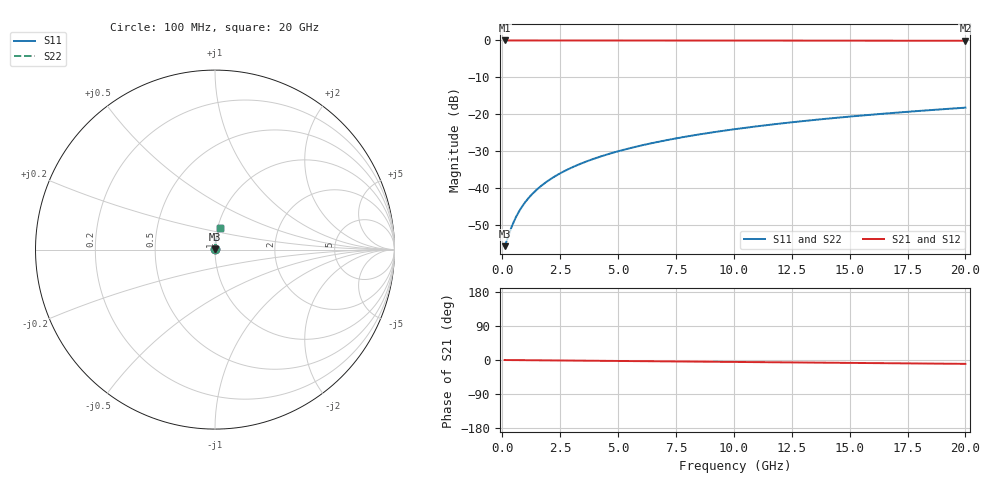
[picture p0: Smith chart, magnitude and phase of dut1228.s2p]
! Touchstone file exported from HFSS 2026.1.0
!  File:  C:/ffzhzh/LocalFiles/Ansys_Project_Files/temp_train_TSV_1228_1783193195_43440.aedt
!  Generated:  03:28:53 AM Jul  5, 2026
!  Design:  TSV
!  Project:  temp_train_TSV_1228_1783193195_43440
! Variables:
!  h_bsmrdl = 2um
!  h_ox = 20um
!  h_rdl = 5um
!  h_sub = 68.95um
!  h_tmrdl = 5um
!  h_tsv = 68.95um
!  h_via = 3um
!  l_bsmrdl = 300um
!  l_sub = 404.58um
!  l_tmrdl = 200um
!  m_sub = 200um
!  pitch = 42.99um
!  r_tsv = 2.29um
!  s_tmrdl = 10um
!  w_bsmrdl = 18um
!  w_sub = 500um
!  w_tmrdl = 12um
!  x_tsv_center1 = 206um
!  x_tsv_center2 = 524um
!  x_tsv_center3 = 736um
!  x_tsv_center4 = 1054um
!  x_tsv_center5 = 1266um
!  x_tsv_center6 = 1584um
# GHz S MA R 50.000000
! Terminal data exported
! Port[1] = TSV1_1_T1
! Port[2] = TSV1_1_T2
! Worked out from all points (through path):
!   200 points, 100 MHz to 20 GHz, reference 50 ohm
!   highest |S21| = -0.01 dB at 100 MHz (marker M1); lowest = -0.1 dB at 20 GHz (marker M2)
!   group delay of S21, straight-line fit = 1.41 ps
!   lowest |S11| = -55.6 dB at 100 MHz (marker M3), VSWR 1.00, Z = 50.2 + j0.0643 ohm
!   |S11| at or under -10 dB: start of sweep to end of sweep
!   |S22| runs from -55.6 to -18.2 dB; largest |S21 - S12| = 6.8e-15
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0.1  0.001654 22.8  0.9985 -0.1  0.9985 -0.1  0.001654 22.8
! Gamma 0 0 0 0
! Port Impedance 50 0 50 0
0.4  0.00299 58.8  0.9985 -0.2  0.9985 -0.2  0.00299 58.8
0.5  0.003554 64.0  0.9985 -0.3  0.9985 -0.3  0.003554 64.0
0.6  0.004139 67.7  0.9984 -0.3  0.9984 -0.3  0.004139 67.7
0.7  0.004736 70.5  0.9984 -0.4  0.9984 -0.4  0.004736 70.5
0.9  0.005952 74.3  0.9984 -0.5  0.9984 -0.5  0.005952 74.3
1.1  0.007185 76.8  0.9984 -0.6  0.9984 -0.6  0.007185 76.8
1.3  0.008427 78.5  0.9984 -0.7  0.9984 -0.7  0.008427 78.5
1.7  0.01093 80.7  0.9983 -0.9  0.9983 -0.9  0.01093 80.7
2.2  0.01407 82.2  0.9983 -1.1  0.9983 -1.1  0.01407 82.2
2.8  0.01785 83.2  0.9982 -1.5  0.9982 -1.5  0.01785 83.2
3.5  0.02226 83.8  0.998 -1.8  0.998 -1.8  0.02226 83.8
4.2  0.02667 84.0  0.9979 -2.2  0.9979 -2.2  0.02667 84.0
5  0.03171 84.1  0.9977 -2.6  0.9977 -2.6  0.03171 84.1
5.9  0.03735 84.0  0.9974 -3.1  0.9974 -3.1  0.03735 84.0
6.8  0.04299 83.8  0.997 -3.5  0.997 -3.5  0.04299 83.8
8.3  0.05233 83.3  0.9964 -4.3  0.9964 -4.3  0.05233 83.3
10.1  0.06347 82.6  0.9955 -5.2  0.9955 -5.2  0.06347 82.6
11.7  0.0733 81.9  0.9947 -6.0  0.9947 -6.0  0.0733 81.9
13.4  0.08367 81.1  0.9936 -6.9  0.9936 -6.9  0.08367 81.1
16.7  0.1036 79.6  0.9913 -8.5  0.9913 -8.5  0.1036 79.6
20  0.1233 78.1  0.9887 -10.2  0.9887 -10.2  0.1233 78.1
